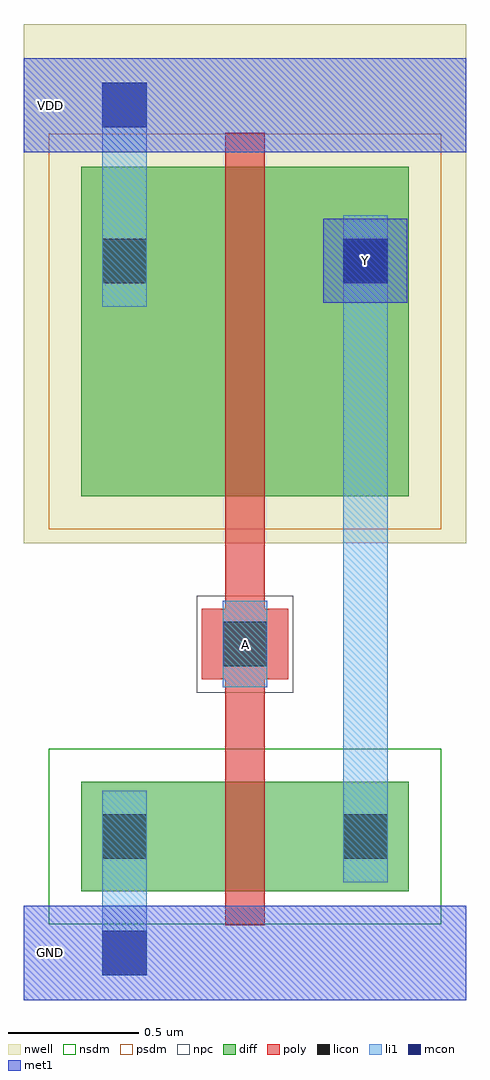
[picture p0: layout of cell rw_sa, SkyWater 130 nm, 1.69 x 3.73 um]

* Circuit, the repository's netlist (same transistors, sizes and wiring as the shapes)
* NGSPICE file created from rw_sa.ext - technology: sky130A

.subckt rw_sa A Y VDD GND
X0 Y A GND VSUBS sky130_fd_pr__nfet_01v8 ad=0.231 pd=1.94 as=0.231 ps=1.94 w=0.42 l=0.15
X1 Y A VDD w_0_313# sky130_fd_pr__pfet_01v8 ad=0.693 pd=3.62 as=0.693 ps=3.62 w=1.26 l=0.15
.ends

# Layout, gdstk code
import gdstk
lib = gdstk.Library(unit=1e-6, precision=1e-09)
def R(c, l, rs):  # rectangles x0, y0, x1, y1
    for r in rs: c.add(gdstk.rectangle(r[:2], r[2:], *l))
nwell = (64, 20)
diff = (65, 20)
poly = (66, 20)
licon = (66, 44)
li1 = (67, 20)
mcon = (67, 44)
met1 = (68, 20)
nsdm = (93, 44)
psdm = (94, 20)
npc = (95, 20)

rw_sa = lib.new_cell('rw_sa')
R(rw_sa, nwell, [(0,1.565,1.69,3.55)])
R(rw_sa, diff, [(0.22,0.235,1.47,0.655), (0.22,1.745,1.47,3.005)])
R(rw_sa, poly, [(0.77,0.105,0.92,1.045), (0.68,1.045,1.01,1.315), (0.77,1.315,0.92,3.135)])
R(rw_sa, licon, [(0.3,0.36,0.47,0.53), (1.22,0.36,1.39,0.53), (0.76,1.095,0.93,1.265), (0.3,2.56,0.47,2.73), (1.22,2.56,1.39,2.73)])
R(rw_sa, li1, [(0.3,-0.085,0.47,0.62), (1.22,0.27,1.39,2.82), (0.76,1.015,0.93,1.345), (0.3,2.47,0.47,3.325)])
R(rw_sa, mcon, [(0.3,-0.085,0.47,0.085), (1.22,2.56,1.39,2.73), (0.3,3.155,0.47,3.325)])
R(rw_sa, met1, [(0,-0.18,1.69,0.18), (1.145,2.485,1.465,2.805), (0,3.06,1.69,3.42)])
R(rw_sa, nsdm, [(0.095,0.11,1.595,0.78)])
R(rw_sa, psdm, [(0.095,1.62,1.595,3.13)])
R(rw_sa, npc, [(0.66,0.995,1.03,1.365)])
rw_sa.add(gdstk.Label('A', (0.845,1.18), layer=67, texttype=5))
rw_sa.add(gdstk.Label('Y', (1.305,2.645), layer=68, texttype=5))
rw_sa.add(gdstk.Label('VDD', (0.1,3.24), layer=68, texttype=5))
rw_sa.add(gdstk.Label('GND', (0.1,0), layer=68, texttype=5))

lib.write_gds('rw_sa.gds')
